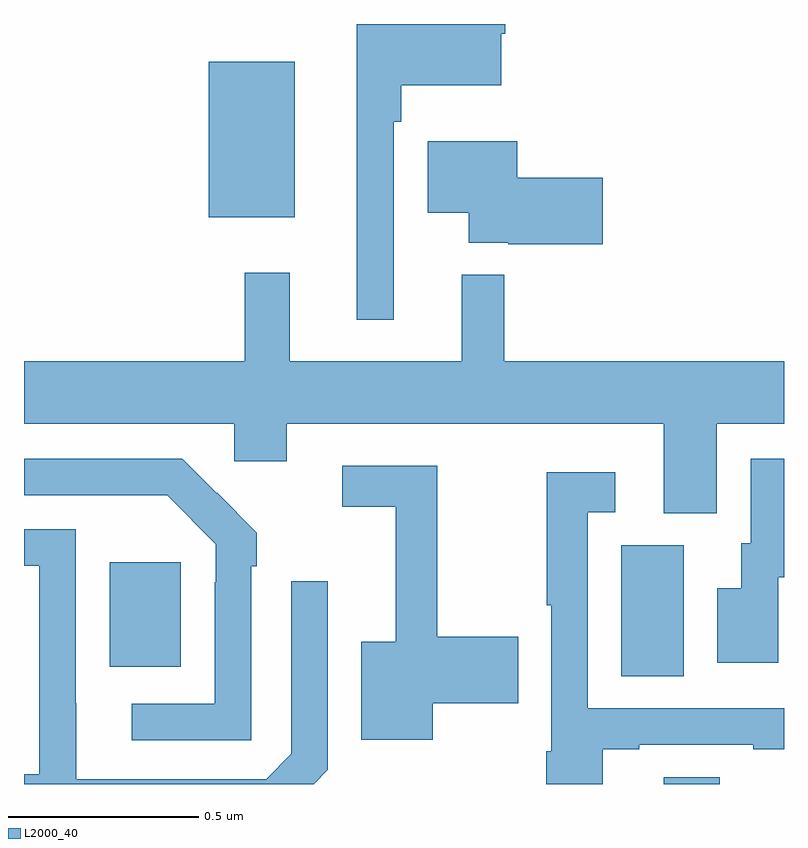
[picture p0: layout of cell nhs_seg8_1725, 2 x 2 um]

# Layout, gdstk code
import gdstk
lib = gdstk.Library(unit=1e-6, precision=1e-09)
def R(c, l, rs):  # rectangles x0, y0, x1, y1
    for r in rs: c.add(gdstk.rectangle(r[:2], r[2:], *l))
def P(c, l, *ps):  # polygons
    for p in ps: c.add(gdstk.Polygon(p, *l))
L2000_40 = (2000, 40)

nhs_seg8_1725 = lib.new_cell('nhs_seg8_1725')
R(nhs_seg8_1725, L2000_40, [(135.683,1100.9,135.831,1100.918), (135.572,1101.184,135.736,1101.528), (134.225,1101.209,134.413,1101.484), (134.486,1102.391,134.713,1102.801)])
P(nhs_seg8_1725, L2000_40, [(134.973,1102.643),(134.993,1102.643),(134.993,1102.739),(135.256,1102.739),(135.256,1102.875),(135.266,1102.875),(135.266,1102.9),(134.876,1102.9),(134.876,1102.122),(134.973,1102.122)],
  [(135.523,1102.496),(135.298,1102.496),(135.298,1102.591),(135.062,1102.591),(135.062,1102.403),(135.17,1102.403),(135.17,1102.325),(135.274,1102.325),(135.274,1102.32),(135.523,1102.32)],
  [(135.823,1101.848),(136,1101.848),(136,1102.012),(135.264,1102.012),(135.264,1102.24),(135.152,1102.24),(135.152,1102.012),(134.699,1102.012),(134.699,1102.246),(134.581,1102.246),(134.581,1102.012),(134,1102.012),(134,1101.848),(134.553,1101.848),(134.553,1101.75),(134.692,1101.75),(134.692,1101.848),(135.683,1101.848),(135.683,1101.613),(135.823,1101.613)],
  [(134.598,1101.473),(134.613,1101.473),(134.613,1101.561),(134.508,1101.666),(134.507,1101.665),(134.416,1101.756),(134,1101.756),(134,1101.66),(134.377,1101.66),(134.505,1101.531),(134.505,1101.431),(134.502,1101.431),(134.502,1101.111),(134.283,1101.111),(134.283,1101.015),(134.598,1101.015)],
  [(135.985,1101.444),(136,1101.444),(136,1101.756),(135.912,1101.756),(135.912,1101.534),(135.887,1101.534),(135.887,1101.415),(135.824,1101.415),(135.824,1101.219),(135.985,1101.219)],
  [(135.076,1101.112),(135.301,1101.112),(135.301,1101.287),(135.088,1101.287),(135.088,1101.738),(134.838,1101.738),(134.838,1101.63),(134.978,1101.63),(134.978,1101.274),(134.888,1101.274),(134.888,1101.017),(135.076,1101.017)],
  [(135.523,1100.991),(135.619,1100.991),(135.619,1101.003),(135.919,1101.003),(135.919,1100.991),(136,1100.991),(136,1101.099),(135.483,1101.099),(135.483,1101.615),(135.556,1101.615),(135.556,1101.721),(135.375,1101.721),(135.375,1101.37),(135.387,1101.37),(135.387,1100.986),(135.374,1100.986),(135.374,1100.9),(135.523,1100.9)],
  [(134.799,1100.937),(134.799,1101.433),(134.703,1101.433),(134.703,1100.979),(134.637,1100.913),(134.137,1100.913),(134.137,1101.113),(134.136,1101.113),(134.136,1101.57),(134,1101.57),(134,1101.474),(134.04,1101.474),(134.04,1100.926),(134,1100.926),(134,1100.9),(134.762,1100.9)])

lib.write_gds('nhs_seg8_1725.gds')
